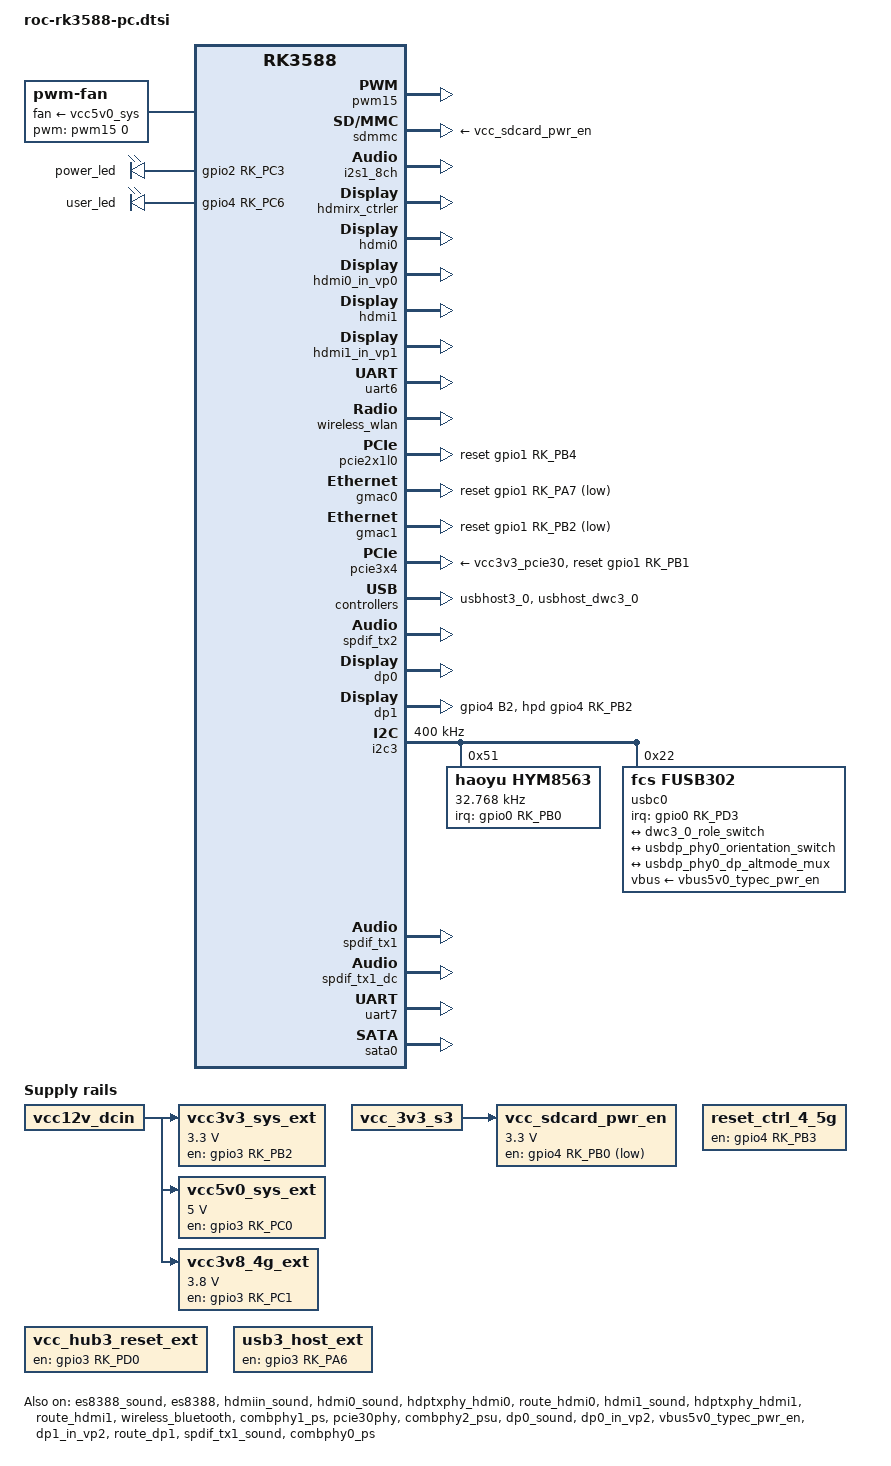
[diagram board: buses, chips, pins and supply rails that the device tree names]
// SPDX-License-Identifier: (GPL-2.0+ OR MIT)
/*
 * Copyright (c) 2021 Rockchip Electronics Co., Ltd.
 *
 */
 
 #define rk3588
 #include "rk3588-firefly-port.dtsi"
 #include "rk3588-diff.dtsi"

 / {
	chosen: chosen {
		bootargs = "earlycon=uart8250,mmio32,0xfeb50000 console=ttyFIQ0 irqchip.gicv3_pseudo_nmi=0 root=PARTLABEL=rootfs rootfstype=ext4 ro rootwait overlayroot=device:dev=PARTLABEL=userdata,fstype=ext4,mkfs=1 coherent_pool=1m systemd.gpt_auto=0 cgroup_enable=memory swapaccount=1 libata.force=3.0G";
	};

	/* FAN */
	fan: pwm-fan {
		compatible = "pwm-fan";
		#cooling-cells = <2>;
		fan-supply = <&vcc5v0_sys>;
		pwms = <&pwm15 0 50000 1>;
	};
	reset_ctrl_4_5g: reset-ctrlt_4_5g {		/* on ext board */
		compatible = "regulator-fixed";
		regulator-name = "reset_ctrl_4_5g";
		regulator-boot-on;
		regulator-always-on;
		enable-active-high;
		gpio = <&gpio4 RK_PB3 GPIO_ACTIVE_HIGH>;
		status = "okay";
	};	
	vcc3v3_sys_ext: vcc3v3-sys-ext {		/* on ext board */
		compatible = "regulator-fixed";
		regulator-name = "vcc3v3_sys_ext";
		regulator-boot-on;
		regulator-always-on;
		regulator-min-microvolt = <3300000>;
		regulator-max-microvolt = <3300000>;
		enable-active-high;
		gpio = <&gpio3 RK_PB2 GPIO_ACTIVE_HIGH>;
		vin-supply = <&vcc12v_dcin>;
		status = "okay";
	};
	vcc5v0_sys_ext: vcc5v0-sys-ext {		/* on ext board */
		compatible = "regulator-fixed";
		regulator-name = "vcc5v0_sys_ext";
		regulator-boot-on;
		regulator-always-on;
		regulator-min-microvolt = <5000000>;
		regulator-max-microvolt = <5000000>;
		enable-active-high;
		gpio = <&gpio3 RK_PC0 GPIO_ACTIVE_HIGH>;
		vin-supply = <&vcc12v_dcin>;
		status = "okay";
	};
	vcc3v8_4g_ext: vcc3v8-4g-ext {			/* on ext board */
		compatible = "regulator-fixed";
		regulator-name = "vcc3v8_4g_ext";
		regulator-boot-on;
		regulator-always-on;
		regulator-min-microvolt = <3800000>;
		regulator-max-microvolt = <3800000>;
		enable-active-high;
		gpio = <&gpio3 RK_PC1 GPIO_ACTIVE_HIGH>;
		vin-supply = <&vcc12v_dcin>;
		status = "okay";
	};

	vcc_hub3_reset_ext: vcc-hub3-reset-ext {	/* on ext board */
		compatible = "regulator-fixed";
		regulator-name = "vcc_hub3_reset_ext";
		regulator-always-on;
		enable-active-high;
		status = "okay";
		gpio = <&gpio3 RK_PD0 GPIO_ACTIVE_HIGH>;  
	};
	usb3_host_ext: usb3-host-ext {	/* on ext board */
		compatible = "regulator-fixed";
		regulator-name = "usb3_host_ext";
		regulator-always-on;
		enable-active-high;
		status = "okay";
		gpio = <&gpio3 RK_PA6 GPIO_ACTIVE_HIGH>;  
	};


};

&firefly_leds{
	
	power_led_ext: power_ext {   			/* on ext board */
		label = ":power-ext"; //blue led 
		linux,default-trigger = "ir-power-ext-click";
		default-state = "on";
		gpios = <&gpio4 RK_PB6 GPIO_ACTIVE_HIGH>;
		pinctrl-names = "default";
		pinctrl-0 = <&led_power_ext>;
	};
	

	user_led_ext: user_ext {			/* on ext board */
		label = ":user-ext"; //red led	
		linux,default-trigger = "ir-user-ext-click";
		default-state = "off";
		gpios = <&gpio3 RK_PD5 GPIO_ACTIVE_HIGH>;
		pinctrl-names = "default";
		pinctrl-0 = <&led_user_ext>;
	};
};

&pwm15{
	pinctrl-0 = <&pwm15m2_pins>;
	status = "okay";
};
/* Led */
&power_led{
       gpios = <&gpio2 RK_PC3 GPIO_ACTIVE_HIGH>;
       pinctrl-names = "default";
       pinctrl-0 = <&led_power>;
};

&user_led{
       gpios = <&gpio4 RK_PC6 GPIO_ACTIVE_HIGH>;
       pinctrl-names = "default";
       pinctrl-0 = <&led_user>;
};

/* tf-card */
&sdmmc {
	status = "okay";
	vmmc-supply = <&vcc_sdcard_pwr_en>;
};

&vcc_sdcard_pwr_en{
	/delete-property/ enable-active-high; 
	enable-active-low;
	regulator-min-microvolt = <3300000>;
	regulator-max-microvolt = <3300000>;
	gpio = <&gpio4 RK_PB0 GPIO_ACTIVE_LOW>; 
	vin-supply = <&vcc_3v3_s3>;
	status = "okay";	
};


/* es8323 audio codec */
&es8388_sound{
	status = "okay";
	/delete-property/ hp-det-gpio;
	hp-det-adc-value = <4095>; //adc value,not microvolt
	/delete-property/ spk-con-gpio;
	hp-con-gpio = <&gpio2 RK_PC4 GPIO_ACTIVE_HIGH>;
	/delete-property/ pinctrl-names;
	/delete-property/ pinctrl-0;
	rockchip,cpu = <&i2s1_8ch>;
	rockchip,audio-routing =
			"Headphone", "LOUT1",
			"Headphone", "ROUT1",
			"Headphone", "Headphone Power",
			"Headphone", "Headphone Power",
			"LINPUT1", "Main Mic",
			"LINPUT2", "Main Mic",
			"RINPUT1", "Headset Mic",
			"RINPUT2", "Headset Mic";
	linein-type = <3>;

};
&es8388{
	status = "okay";
	clocks = <&cru I2S1_8CH_MCLKOUT>;
	clock-names = "mclk";
	assigned-clocks = <&cru I2S1_8CH_MCLKOUT>;
	assigned-clock-rates = <12288000>;
	pinctrl-names = "default";
	pinctrl-0 = <&i2s1m0_mclk>;
};
&i2s1_8ch{
	status = "okay";
	pinctrl-0 = <&i2s1m0_lrck
				&i2s1m0_sclk
				&i2s1m0_sdi0
				&i2s1m0_sdo0>;	
};

/* hdmi rx */
&hdmiin_sound{
	status = "okay";
};

&hdmirx_ctrler {
	status = "okay";
	hpd-trigger-level = <1>;
	hdmirx-det-gpios = <&gpio1 RK_PD5 GPIO_ACTIVE_LOW>;
};

/* hdmi0 */
&hdmi0 {
	enable-gpios = <&gpio4 RK_PA0 GPIO_ACTIVE_HIGH>;
	status = "okay";
};

&hdmi0_in_vp0 {
	status = "okay";
};

&hdmi0_sound {
	status = "okay";
};

&hdptxphy_hdmi0 {
	status = "okay";
};

&route_hdmi0{
	status = "okay";
};

/* hdmi1 */
&hdmi1 {
	enable-gpios = <&gpio1 RK_PC2 GPIO_ACTIVE_HIGH>;
	status = "okay";
};

&hdmi1_sound {
	status = "okay";
};

&hdmi1_in_vp1 {
        status = "okay";
};

&hdptxphy_hdmi1 {
	status = "okay";
};

&route_hdmi1{
	status = "okay";
	connect = <&vp1_out_hdmi1>;
};

/*ap6275 : bluetooth*/
&wireless_bluetooth{
	status = "okay";
};

&uart6 {
	pinctrl-names = "default";
	pinctrl-0 = <&uart6m1_xfer &uart6m1_ctsn>;
	status = "okay";
};

/* ap6275 : wifi */
&wireless_wlan{
	wifi_chip_type = "ap6275p";
	status = "okay";
};

&combphy1_ps {
	status = "okay";
};

&pcie2x1l0 {
	reset-gpios = <&gpio1 RK_PB4 GPIO_ACTIVE_HIGH>;
	rockchip,skip-scan-in-resume;
	status = "okay";
};

/* gamc0 */
&gmac0 {
	snps,reset-gpio = <&gpio1 RK_PA7 GPIO_ACTIVE_LOW>;
	tx_delay = <0x47>;
	status = "okay";
};

&gmac0_tx_bus2{
    rockchip,pins =
    /* gmac0_txd0 */
    <2 RK_PB6 1 &pcfg_pull_up_drv_level_6>,
    /* gmac0_txd1 */
    <2 RK_PB7 1 &pcfg_pull_up_drv_level_6>,
    /* gmac0_txen */
    <2 RK_PC0 1 &pcfg_pull_none>;
};

&gmac0_rgmii_bus{
	rockchip,pins =
	/* gmac0_rxd2 */
	<2 RK_PA6 1 &pcfg_pull_none>,
	/* gmac0_rxd3 */
	<2 RK_PA7 1 &pcfg_pull_none>,
	/* gmac0_txd2 */
	<2 RK_PB1 1 &pcfg_pull_up_drv_level_6>,
	/* gmac0_txd3 */
	<2 RK_PB2 1 &pcfg_pull_up_drv_level_6>;
};

/* gmac1 */			/* on ext board */
&gmac1 {			
	snps,reset-gpio = <&gpio1 RK_PB2 GPIO_ACTIVE_LOW>;
	tx_delay = <0x4a>;
	status = "okay";
};

&gmac1_tx_bus2{
	rockchip,pins =
	/* gmac1_txd0 */
	<3 RK_PB3 1 &pcfg_pull_up_drv_level_6>,
    /* gmac1_txd1 */
	<3 RK_PB4 1 &pcfg_pull_up_drv_level_6>,
	/* gmac1_txen */
	<3 RK_PB5 1 &pcfg_pull_none>;
};

&gmac1_rgmii_bus{
	rockchip,pins =
	/* gmac1_rxd2 */
	<3 RK_PA2 1 &pcfg_pull_none>,
	/* gmac1_rxd3 */
	<3 RK_PA3 1 &pcfg_pull_none>,
	/* gmac1_txd2 */
	<3 RK_PA0 1 &pcfg_pull_up_drv_level_6>,
	/* gmac1_txd3 */
	<3 RK_PA1 1 &pcfg_pull_up_drv_level_6>;
};


/* pcie3.0 x 4 Lane (M.2 nvme) */
&pcie30phy {
	status = "okay";
};
&pcie3x4 {
	reset-gpios = <&gpio1 RK_PB1 GPIO_ACTIVE_HIGH>;
	vpcie3v3-supply = <&vcc3v3_pcie30>;
	status = "okay";
};

&vcc3v3_pcie30{
	gpios = <&gpio2 RK_PC5 GPIO_ACTIVE_HIGH>;
	regulator-always-on;
	startup-delay-us = <5000>;
	status = "okay";
};

/* usb power */

&vcc_hub3_reset{
	status = "okay";
	gpio = <&gpio1 RK_PC4 GPIO_ACTIVE_HIGH>;  
};

&vcc5v0_host3{
	gpio = <&gpio3 RK_PB7 GPIO_ACTIVE_HIGH>;  
	status = "okay";
};
&u2phy1_otg { 
       phy-supply = <&vcc5v0_host3>; 
};
&u2phy2_host { 
       phy-supply = <&vcc5v0_host3>; 
}; 

&u2phy3_host { 
       phy-supply = <&vcc5v0_host3>; 
};
&combphy2_psu{
	status = "okay";
};
&usbhost3_0{
	status = "okay";
};
&usbhost_dwc3_0{
	status = "okay";
};

/* display port0 */
&spdif_tx2{
	status = "okay";
};

&dp0_sound{
	status = "okay";
};

&dp0 {
	status = "okay";
};

&dp0_in_vp2 {
	status = "okay";
};

&vbus5v0_typec_pwr_en{
	status = "okay";
	gpio = <&gpio4 RK_PA3 GPIO_ACTIVE_HIGH>; 
};

/* display port1 to vga -- on ext board */ 
&dp1_in_vp2 {				
	status = "okay";
};

&dp1 {
	pinctrl-names = "default";
	pinctrl-0 = <&dp1_hpd>;
	hpd-gpios = <&gpio4 RK_PB2 GPIO_ACTIVE_HIGH>;
	status = "okay";
};
&route_dp1{
	status = "okay";
	connect = <&vp2_out_dp1>;
};

/* Key : Recovery */
&adc_keys{
	status = "okay";
	recovery-key{
		label = "F12";
		linux,code = <KEY_F12>;
		press-threshold-microvolt = <642000>;
	};
};

/* i2c6: delete some dual-defined nodes */
&i2c6 {
	clock-frequency = <400000>; // For others Display Port Screen
	status = "disabled";
	/delete-node/ hym8563@51;
	/delete-node/ fusb302@22;
};

&i2c3 {
	status = "okay";
	pinctrl-names = "default";
	pinctrl-0 = <&i2c3m0_xfer>;
	clock-frequency = <400000>;
	hym8563: hym8563@51 {
		compatible = "haoyu,hym8563";
		reg = <0x51>;
		#clock-cells = <0>;
		clock-frequency = <32768>;
		clock-output-names = "hym8563";
		pinctrl-names = "default";
		pinctrl-0 = <&hym8563_int>;
		interrupt-parent = <&gpio0>;
		interrupts = <RK_PB0 IRQ_TYPE_LEVEL_LOW>;
		wakeup-source;
		status = "okay";
	};

	usbc0: fusb302@22 {
		compatible = "fcs,fusb302";
		reg = <0x22>;
		interrupt-parent = <&gpio0>;
		interrupts = <RK_PD3 IRQ_TYPE_LEVEL_LOW>;
		pinctrl-names = "default";
		pinctrl-0 = <&usbc0_int>;
		vbus-supply = <&vbus5v0_typec_pwr_en>;
		status = "okay";

		ports {
			#address-cells = <1>;
			#size-cells = <0>;

			port@0 {
				reg = <0>;
				usbc0_role_sw: endpoint@0 {
					remote-endpoint = <&dwc3_0_role_switch>;
				};
			};
		};

		usb_con: connector {
			compatible = "usb-c-connector";
			label = "USB-C";
			data-role = "dual";
			power-role = "dual";
			try-power-role = "sink";
			op-sink-microwatt = <1000000>;
			sink-pdos =
				<PDO_FIXED(5000, 1000, PDO_FIXED_USB_COMM)>;
			source-pdos =
				<PDO_FIXED(5000, 3000, PDO_FIXED_USB_COMM)>;

			altmodes {
				#address-cells = <1>;
				#size-cells = <0>;

				altmode@0 {
					reg = <0>;
					svid = <0xff01>;
					vdo = <0xffffffff>;
				};
			};

			ports {
				#address-cells = <1>;
				#size-cells = <0>;

				port@0 {
					reg = <0>;
					usbc0_orien_sw: endpoint {
						remote-endpoint = <&usbdp_phy0_orientation_switch>;
					};
				};

				port@1 {
					reg = <1>;
					dp_altmode_mux: endpoint {
						remote-endpoint = <&usbdp_phy0_dp_altmode_mux>;
					};
				};
			};
		};
	};
};

/* spidif audio -- on ext board */ 
&spdif_tx1{			
	status = "okay";
};
&spdif_tx1_dc{
	status = "okay";
};

&spdif_tx1_sound{
	status = "okay";
};


/* uart7 */
&uart7 {
	status = "okay";
	pinctrl-0 = <&uart7m0_xfer>;
};


/* sata pm */     /* on ext board */
&combphy0_ps {
	status = "okay";
};

&sata0 {
	status = "okay";
};

/* pinctrl */
&pinctrl {

	dp {
		dp1_hpd: dp1-hpd {
			 rockchip,pins = <4 RK_PB2 RK_FUNC_GPIO &pcfg_pull_none>;
		};
	};

	leds {
		led_power: led-power {
			rockchip,pins = <2 RK_PC3 RK_FUNC_GPIO &pcfg_pull_none>;
		};
		led_user: led-user{
			rockchip,pins = <4 RK_PC6 RK_FUNC_GPIO &pcfg_pull_none>;
		};
		led_power_ext: led-power-ext {
			rockchip,pins = <4 RK_PB6 RK_FUNC_GPIO &pcfg_pull_none>;
		};
		led_user_ext: led-user-ext {
			rockchip,pins = <3 RK_PD5 RK_FUNC_GPIO &pcfg_pull_none>;
		};
 	};

	hdmirx {
		hdmirx_det: hdmirx-det {
			rockchip,pins = <1 RK_PD5 RK_FUNC_GPIO &pcfg_pull_up>;
		};
	};
	/delete-node/ headphone;

	hym8563 {
		hym8563_int: hym8563-int {
			rockchip,pins = <0 RK_PB0 RK_FUNC_GPIO &pcfg_pull_up>;
		};
	};

	usb-typec { 
		usbc0_int: usbc0-int { 
			rockchip,pins = <0 RK_PD3 RK_FUNC_GPIO &pcfg_pull_up>; 
		}; 
	};

	wireless-bluetooth {
		uart6_gpios: uart6-gpios {
			rockchip,pins = <1 RK_PA2 RK_FUNC_GPIO &pcfg_pull_none>;
		};

		bt_reset_gpio: bt-reset-gpio {
			rockchip,pins = <0 RK_PC6 RK_FUNC_GPIO &pcfg_pull_none>;
		};

		bt_wake_gpio: bt-wake-gpio {
			rockchip,pins = <0 RK_PC5 RK_FUNC_GPIO &pcfg_pull_none>;
		};

		bt_irq_gpio: bt-irq-gpio {
			rockchip,pins = <0 RK_PA0 RK_FUNC_GPIO &pcfg_pull_down>;
		};
	};

	wireless-wlan {
		wifi_host_wake_irq: wifi-host-wake-irq {
			rockchip,pins = <0 RK_PB2 RK_FUNC_GPIO &pcfg_pull_down>;
		};

		wifi_poweren_gpio: wifi-poweren-gpio {
			rockchip,pins = <0 RK_PC4 RK_FUNC_GPIO &pcfg_pull_up>;
		};
	};
};
